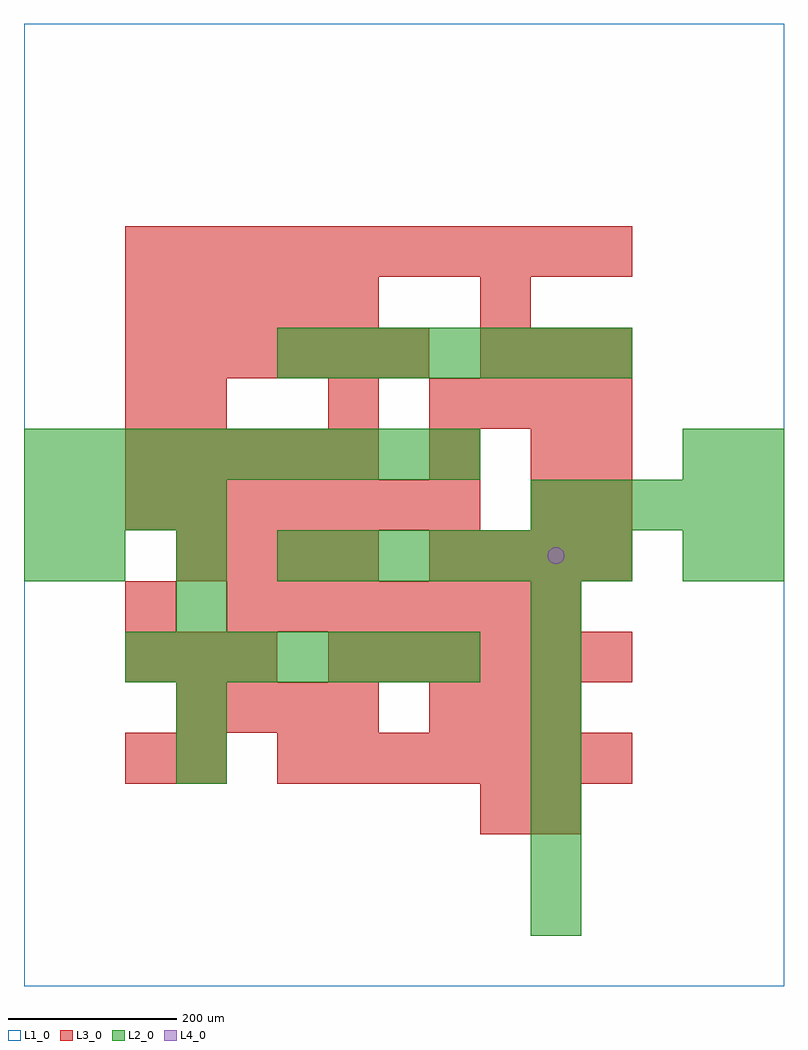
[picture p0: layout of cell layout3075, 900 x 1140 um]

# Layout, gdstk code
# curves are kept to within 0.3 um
import gdstk
lib = gdstk.Library(unit=1e-6, precision=1e-09)
def R(c, l, rs):  # rectangles x0, y0, x1, y1
    for r in rs: c.add(gdstk.rectangle(r[:2], r[2:], *l))
def A(c, l, x, y, w, h, nx, ny, dx, dy):  # array of equal rectangles
    R(c, l, [(x+i*dx, y+j*dy, x+i*dx+w, y+j*dy+h) for i in range(nx) for j in range(ny)])
def P(c, l, *ps):  # polygons
    for p in ps: c.add(gdstk.Polygon(p, *l))
L1_0 = (1, 0)
L2_0 = (2, 0)
L3_0 = (3, 0)
L4_0 = (4, 0)

layout3075 = lib.new_cell('layout3075')
R(layout3075, L1_0, [(0,0,900,1140)])
A(layout3075, L2_0, 600, 60, 60, 60, 1, 7, 0, 60)
A(layout3075, L2_0, 120, 360, 60, 60, 7, 1, 60, 0)
A(layout3075, L2_0, 60, 480, 60, 60, 3, 1, 120, 0)
A(layout3075, L2_0, 360, 480, 60, 60, 6, 1, 60, 0)
A(layout3075, L2_0, 0, 540, 60, 60, 4, 1, 60, 0)
A(layout3075, L2_0, 600, 540, 60, 60, 5, 1, 60, 0)
A(layout3075, L2_0, 0, 600, 60, 60, 9, 1, 60, 0)
A(layout3075, L2_0, 300, 720, 60, 60, 7, 1, 60, 0)
R(layout3075, L2_0, [(180,240,240,300), (180,300,240,360), (180,420,240,480), (0,480,60,540), (780,480,840,540), (840,480,900,540), (780,600,840,660), (840,600,900,660)])
A(layout3075, L3_0, 300, 240, 60, 60, 7, 1, 60, 0)
A(layout3075, L3_0, 180, 300, 60, 60, 4, 2, 60, 180)
A(layout3075, L3_0, 480, 300, 60, 60, 3, 1, 60, 0)
A(layout3075, L3_0, 120, 360, 60, 60, 3, 1, 60, 0)
A(layout3075, L3_0, 360, 360, 60, 60, 6, 1, 60, 0)
A(layout3075, L3_0, 240, 420, 60, 60, 7, 1, 60, 0)
A(layout3075, L3_0, 480, 480, 60, 60, 4, 2, 60, 180)
A(layout3075, L3_0, 120, 540, 60, 60, 7, 1, 60, 0)
A(layout3075, L3_0, 120, 600, 60, 60, 5, 2, 60, 180)
A(layout3075, L3_0, 120, 720, 60, 60, 6, 1, 60, 0)
A(layout3075, L3_0, 540, 720, 60, 60, 3, 1, 60, 0)
A(layout3075, L3_0, 120, 840, 60, 60, 10, 1, 60, 0)
R(layout3075, L3_0, [(540,180,600,240), (600,180,660,240), (120,240,180,300), (180,240,240,300), (120,420,180,480), (600,540,660,600), (660,540,720,600), (480,600,540,660), (600,600,660,660), (660,600,720,660), (120,660,180,720), (180,660,240,720), (360,660,420,720), (540,780,600,840)])
P(layout3075, L4_0, [(640,510),(639.239,513.827),(637.071,517.071),(633.827,519.239),(630,520),(626.173,519.239),(622.929,517.071),(620.761,513.827),(620,510),(620.761,506.173),(622.929,502.929),(626.173,500.761),(630,500),(633.827,500.761),(637.071,502.929),(639.239,506.173)])

lib.write_gds('layout3075.gds')
